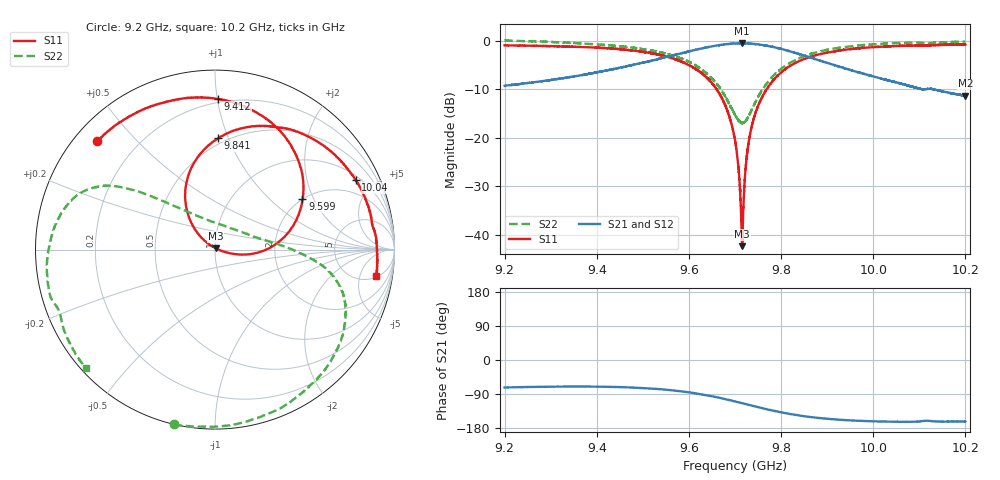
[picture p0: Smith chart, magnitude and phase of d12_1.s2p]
!Agilent Technologies,N5242A,MY51221714,A.09.90.19
!Agilent N5242A: A.09.90.19
!Date: Tuesday, March 26, 2024 16:32:01
!Correction: S11(Full 2 Port(1,2))
!S21(Full 2 Port(1,2))
!S12(Full 2 Port(1,2))
!S22(Full 2 Port(1,2))
!S2P File: Measurements: S11, S21, S12, S22:
# Hz S  dB  R 50
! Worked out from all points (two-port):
!   16001 points, 9.2 GHz to 10.2 GHz, reference 50 ohm
!   highest |S21| = -0.57 dB at 9.716 GHz (marker M1); lowest = -11.4 dB at 10.2 GHz (marker M2)
!   |S21| within 3 dB of the highest: 9.542989 GHz to 9.543021 GHz (31.72 kHz wide, 0.000332 % of centre); 9.543 GHz to 9.866 GHz (322.5 MHz wide, 3.32 % of centre)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
!   lowest |S11| = -42.3 dB at 9.715 GHz (marker M3), VSWR 1.02, Z = 50.4 + j0.673 ohm
!   |S11| at or under -10 dB: 9.66 GHz to 9.769 GHz (109.1 MHz wide, 1.12 % of centre)
!   |S22| runs from -17.1 to 0.0 dB; largest |S21 - S12| = 0.012
!   S11 on the Smith chart (normalised r, x): 9.2 GHz: 0.07, +0.39; 9.412 GHz: 0.18, +1.01; 9.599 GHz: 2.00, +1.64; 9.841 GHz: 0.46, +0.92; 10.04 GHz: 1.19, +3.93; 10.2 GHz: 5, -9
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9.2e9  -1.00 137.3  -9.30 -72.6  -9.28 -73.4  0.00 -103.1
9.277188e9  -1.12 120.7  -8.41 -70.8  -8.42 -71.5  -0.21 -82.0
9.366688e9  -1.32 100.2  -7.12 -70.1  -7.12 -70.7  -0.61 -58.5
9.411938e9  -1.51 88.8  -6.32 -70.5  -6.31 -71.2  -0.85 -47.1
9.533375e9  -2.91 53.6  -3.81 -76.7  -3.80 -77.3  -2.32 -20.1
9.598875e9  -5.00 29.9  -2.26 -85.2  -2.25 -85.7  -4.34 -8.8
9.664562e9  -10.67 0.5  -0.95 -99.4  -0.95 -99.9  -9.42 5.7
9.685625e9  -15.01 -8.8  -0.71 -105.1  -0.70 -105.7  -12.73 17.9
9.7e9  -20.52 -13.9  -0.61 -109.3  -0.60 -109.9  -15.27 36.1
9.712688e9  -34.46 0.2  -0.57 -113.2  -0.56 -113.8  -16.88 63.1
9.715438e9  -42.33 60.9  -0.58 -114.0  -0.55 -114.6  -16.98 69.7
9.715812e9  -41.38 79.1  -0.57 -114.2  -0.56 -114.8  -16.94 70.5
9.729062e9  -21.30 139.2  -0.61 -118.2  -0.60 -118.8  -15.62 101.7
9.748438e9  -13.86 131.1  -0.77 -124.1  -0.76 -124.6  -11.88 125.0
9.78625e9  -7.85 113.3  -1.40 -134.6  -1.41 -135.3  -6.97 139.5
9.84125e9  -4.15 88.4  -2.84 -146.8  -2.83 -147.3  -3.54 147.7
9.866688e9  -3.26 78.4  -3.59 -150.9  -3.60 -151.4  -2.69 151.2
9.934938e9  -1.93 55.1  -5.63 -158.3  -5.63 -158.8  -1.37 162.3
1.003338e10  -1.20 28.0  -8.23 -162.6  -8.22 -163.1  -0.60 -177.7
1.00395e10  -1.16 26.4  -8.35 -162.7  -8.35 -163.3  -0.56 -176.4
1.019994e10  -0.81 -9.1  -11.38 -162.0  -11.37 -162.7  -0.21 -137.4
1.02e10  -0.81 -9.2  -11.36 -162.1  -11.38 -162.7  -0.21 -137.3
